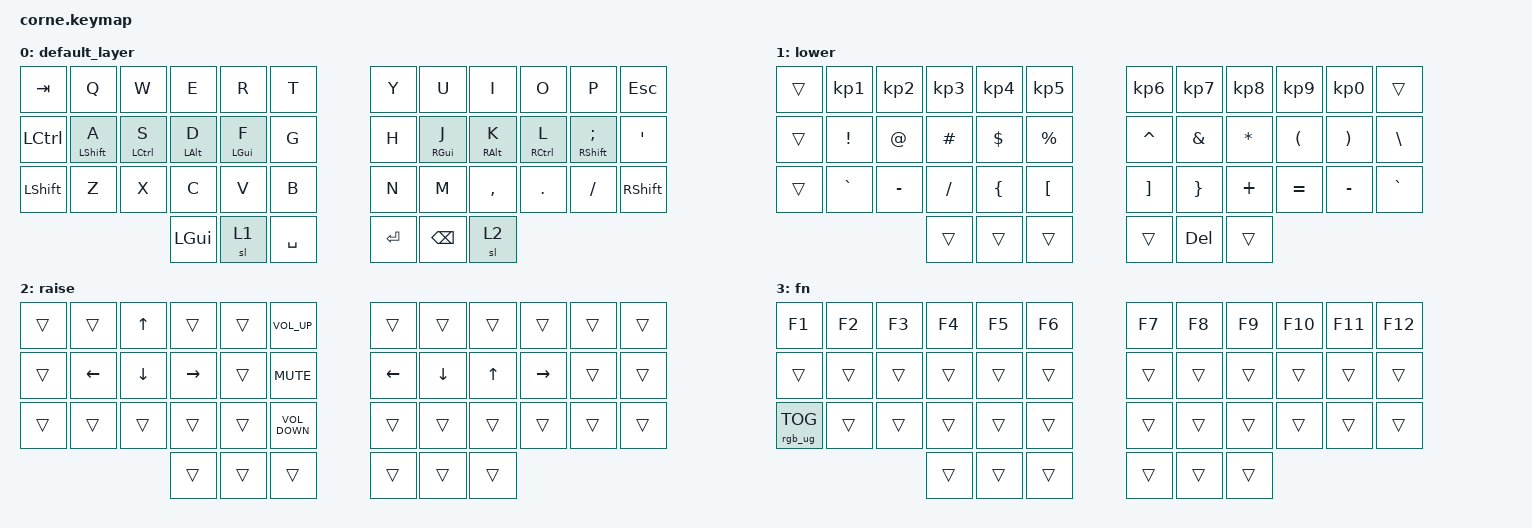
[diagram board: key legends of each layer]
/*
 * Copyright (c) 2020 The ZMK Contributors
 *
 * SPDX-License-Identifier: MIT
 */

#include <behaviors.dtsi>
#include <dt-bindings/zmk/keys.h>
#include <dt-bindings/zmk/rgb.h>

/ {
    combos {
        compatible = "zmk,combos";

        esc {
            bindings = <&kp ESC>;
            key-positions = <19 20>;
        };

        fn_left {
            bindings = <&mo 3>;
            key-positions = <4 3>;
        };

        fn_right {
            bindings = <&mo 3>;
            key-positions = <7 8>;
        };
    };

    behaviors {
        hml: homewrow_mods_left {
            compatible = "zmk,behavior-hold-tap";
            label = "HOMEROW_MODS_LEFT_HAND";
            bindings = <&kp>, <&kp>;

            #binding-cells = <2>;
            tapping-term-ms = <250>;
            hold-trigger-key-positions = <6 18 30 39 40 41 19 31 7 8 20 32 33 21 9 10 22 34 35 23 11>;
            flavor = "tap-preferred";
        };

        hmr: homewrow_mods_right {
            compatible = "zmk,behavior-hold-tap";
            label = "HOMEROW_MODS_RIGHT_HAND";
            bindings = <&kp>, <&kp>;

            #binding-cells = <2>;
            tapping-term-ms = <250>;
            hold-trigger-key-positions = <0 1 2 3 4 5 12 13 14 15 16 17 24 25 26 27 28 29 36 37 38>;
            flavor = "tap-preferred";
        };
    };

    keymap {
        compatible = "zmk,keymap";

        default_layer {
            // -----------------------------------------------------------------------------------------
            // |  TAB |  Q  |  W  |  E  |  R  |  T  |   |  Y  |  U   |  I  |  O  |  P  | BSPC |
            // | CTRL |  A  |  S  |  D  |  F  |  G  |   |  H  |  J   |  K  |  L  |  ;  |  '   |
            // | SHFT |  Z  |  X  |  C  |  V  |  B  |   |  N  |  M   |  ,  |  .  |  /  | ESC  |
            //                    | GUI | LWR | SPC |   | ENT | RSE  | ALT |

            bindings = <
&kp TAB         &kp Q         &kp W                &kp E            &kp R            &kp T        &kp Y      &kp U             &kp I             &kp O                 &kp P                  &kp ESCAPE
&kp LCTRL       &hml LSHFT A  &hml LEFT_CONTROL S  &hml LEFT_ALT D  &hml LEFT_GUI F  &kp G        &kp H      &hmr RIGHT_GUI J  &hmr RIGHT_ALT K  &hmr RIGHT_CONTROL L  &hmr RIGHT_SHIFT SEMI  &kp SQT
&kp LEFT_SHIFT  &kp Z         &kp X                &kp C            &kp V            &kp B        &kp N      &kp M             &kp COMMA         &kp DOT               &kp FSLH               &kp RIGHT_SHIFT
                                                   &kp LEFT_GUI     &sl 1            &kp SPACE    &kp ENTER  &kp BACKSPACE     &sl 2
            >;
        };

        lower {
            // -----------------------------------------------------------------------------------------
            // |  TAB |  1  |  2  |  3  |  4  |  5  |   |  6  |  7  |  8  |  9  |  0  | BSPC |
            // | BTCLR| BT1 | BT2 | BT3 | BT4 | BT5 |   | LFT | DWN |  UP | RGT |     |      |
            // | SHFT |     |     |     |     |     |   |     |     |     |     |     |      |
            //                    | GUI |     | SPC |   | ENT |     | ALT |

            bindings = <
&trans  &kp KP_NUMBER_1  &kp KP_NUMBER_2  &kp KP_NUMBER_3  &kp KP_NUMBER_4  &kp KP_NUMBER_5     &kp KP_NUMBER_6    &kp KP_NUMBER_7  &kp KP_NUMBER_8  &kp KP_NUMBER_9       &kp KP_NUMBER_0        &trans
&trans  &kp EXCLAMATION  &kp AT           &kp HASH         &kp DOLLAR       &kp PERCENT         &kp CARET          &kp AMPERSAND    &kp ASTERISK     &kp LEFT_PARENTHESIS  &kp RIGHT_PARENTHESIS  &kp BACKSLASH
&trans  &kp GRAVE        &kp MINUS        &kp SLASH        &kp LEFT_BRACE   &kp LEFT_BRACKET    &kp RIGHT_BRACKET  &kp RIGHT_BRACE  &kp PLUS         &kp EQUAL             &kp MINUS              &kp GRAVE
                                          &trans           &trans           &trans              &trans             &kp DELETE       &trans
            >;
        };

        raise {
            bindings = <
&trans  &trans          &kp UP    &trans     &trans  &kp C_VOLUME_UP      &trans          &trans          &trans        &trans     &trans  &trans
&trans  &kp LEFT_ARROW  &kp DOWN  &kp RIGHT  &trans  &kp C_MUTE           &kp LEFT_ARROW  &kp DOWN_ARROW  &kp UP_ARROW  &kp RIGHT  &trans  &trans
&trans  &trans          &trans    &trans     &trans  &kp C_VOLUME_DOWN    &trans          &trans          &trans        &trans     &trans  &trans
                                  &trans     &trans  &trans               &trans          &trans          &trans
            >;
        };

        fn {
            bindings = <
&kp F1           &kp F2  &kp F3  &kp F4  &kp F5  &kp F6    &kp F7  &kp F8  &kp F9  &kp F10  &kp F11  &kp F12
&trans           &trans  &trans  &trans  &trans  &trans    &trans  &trans  &trans  &trans   &trans   &trans
&rgb_ug RGB_TOG  &trans  &trans  &trans  &trans  &trans    &trans  &trans  &trans  &trans   &trans   &trans
                                 &trans  &trans  &trans    &trans  &trans  &trans
            >;
        };
    };
};
